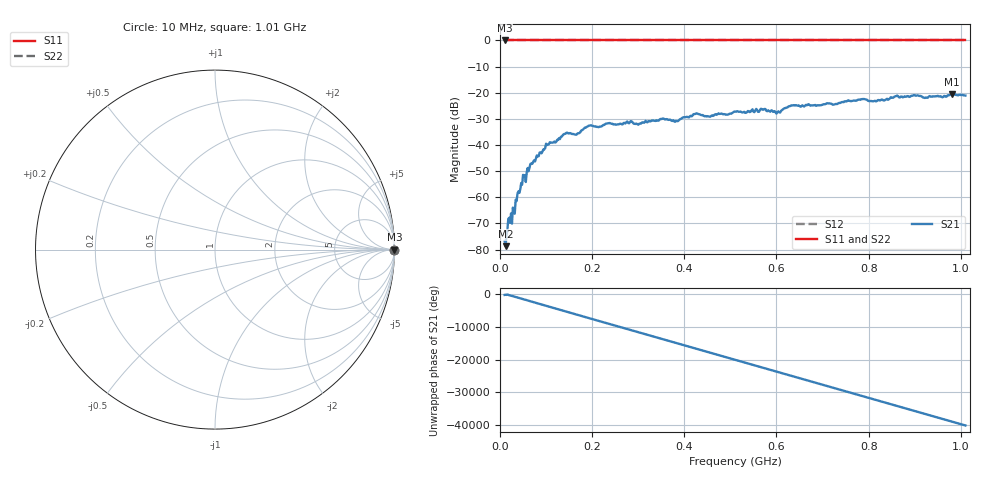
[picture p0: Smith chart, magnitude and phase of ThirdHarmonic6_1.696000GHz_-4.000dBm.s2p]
! 8/16/2025 8:22:26 PM
! C:\ANRITSUVNA\TEMP\TEMP.S2P
! CHANNEL.1
! TR.MEASUREMENT
! RAW.DATA
! RF.CORRECTION.OFF
! AVERAGING.OFF
! IF.BANDWIDTH: 5KHZ
! SWEEPTYPE:  FREQ.SWEEP(Linear)
! Reference Plane Port Info
! PORT:  PORT1  PORT2
! DISTANCE:  0  m  0  m
! TIME:  0  s  0  s
! PHASE.OFFSET:  0  deg.  0  deg.
! LOSS:  0  dB  0  dB
! REF.LOSS:  0  dB  0  dB
! REF.FREQ:  0  Hz  0  Hz
! Power Info
! POWER:  -20  dBm  -20  dBm
! EFF.POWER:  -20  dBm  -20  dBm
! SOURCE.ATTEN:  0  dB  0  dB
! TEST.ATTEN:  0  dB  0  dB
# GHZ S RI R 50.0
! FREQ.GHZ  S11RE  S11IM  S21RE  S21IM  S12RE  S12IM  S22RE  S22IM
!; PortSelection: Port_12
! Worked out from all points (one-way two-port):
!   501 points, 10 MHz to 1.01 GHz, reference 50 ohm
!   highest |S21| = -20.61 dB at 980 MHz (marker M1); lowest = -78.7 dB at 12 MHz (marker M2)
!   lowest |S11| = 0.0 dB at 10 MHz (marker M3)
!   |S11| at or under -10 dB: nowhere
!   |S22| runs from 0.0 to 0.0 dB; largest |S21 - S12| = 1.1
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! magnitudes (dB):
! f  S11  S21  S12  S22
! 10 MHz  0.0  -76.7  0.0  0.0
! 12 MHz  0.0  -78.7  0.0  0.0
! 20 MHz  0.0  -67.8  0.0  0.0
! 30 MHz  0.0  -65.9  0.0  0.0
! 50 MHz  0.0  -51.4  0.0  0.0
! 70 MHz  0.0  -47.2  0.0  0.0
! 104 MHz  0.0  -39.9  0.0  0.0
! 142 MHz  0.0  -35.7  0.0  0.0
! 178 MHz  0.0  -34.3  0.0  0.0
! 196 MHz  0.0  -32.5  0.0  0.0
! 344 MHz  0.0  -30.7  0.0  0.0
! 382 MHz  0.0  -30.8  0.0  0.0
! 424 MHz  0.0  -28.1  0.0  0.0
! 452 MHz  0.0  -29.0  0.0  0.0
! 510 MHz  0.0  -27.2  0.0  0.0
! 570 MHz  0.0  -26.5  0.0  0.0
! 604 MHz  0.0  -27.1  0.0  0.0
! 634 MHz  0.0  -24.8  0.0  0.0
! 678 MHz  0.0  -24.9  0.0  0.0
! 844 MHz  0.0  -22.5  0.0  0.0
! 980 MHz  0.0  -20.6  0.0  0.0
! 1.01 GHz  0.0  -21.1  0.0  0.0
